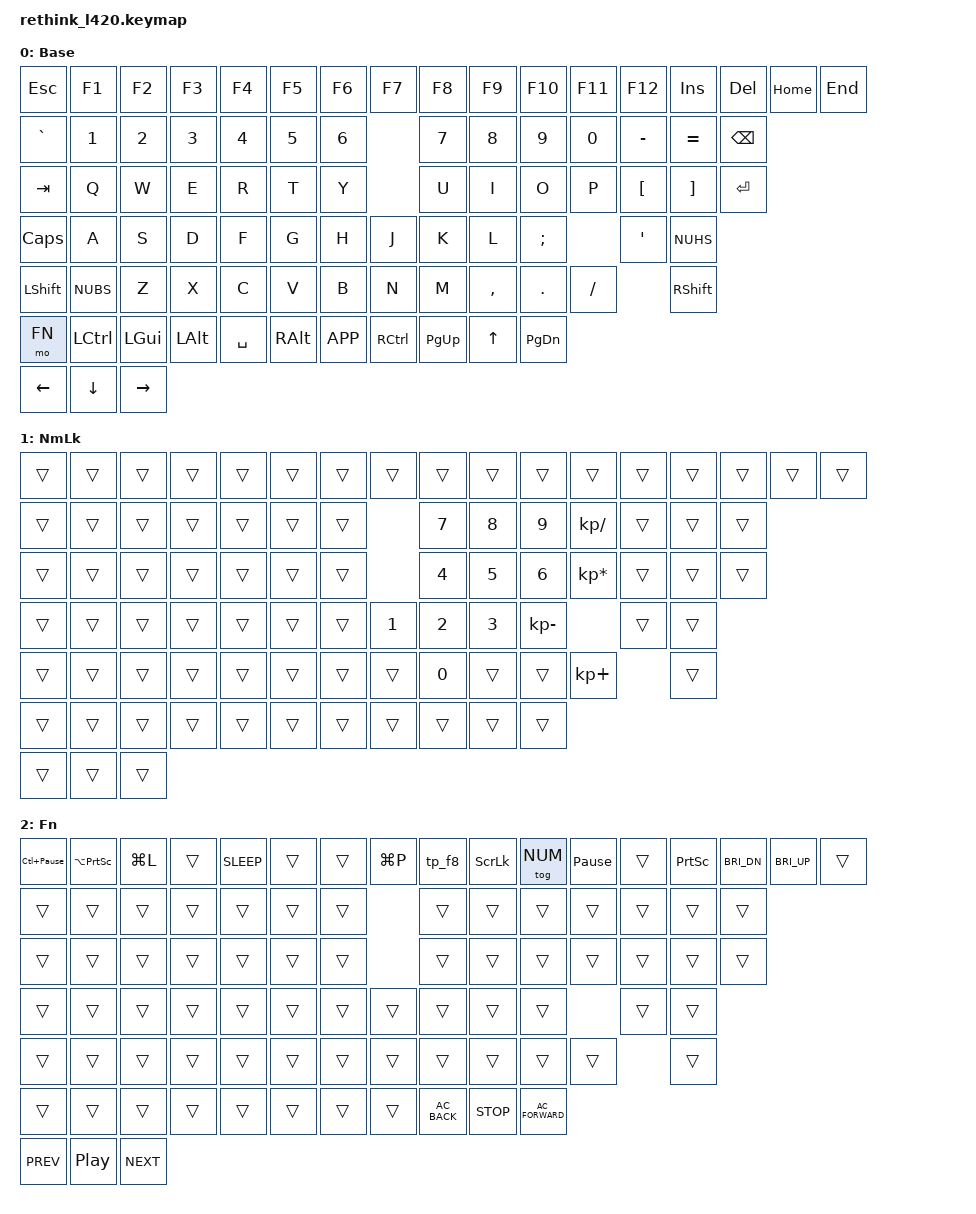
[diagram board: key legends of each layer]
/*
 * Copyright (c) 2026 Ziemniaczenka
 * SPDX-License-Identifier: MIT
 *
 * ThinkPad L420, ISO. Each key sends the standard key code of its position;
 * the host's layout (Norwegian, UK, ...) gives the legends. The comments name
 * the keys by their UK ISO legends: ` left of 1, # left of Enter (NUHS),
 * \ right of LShift (NUBS).
 * Fn is the bottom-left key, as on the ThinkPad, and does what the keycaps
 * show where a standard key code exists: Break, SysRq, lock (Win+L), sleep,
 * display (Win+P), Scroll Lock, Num Lock, Pause, PrtSc, brightness, browser
 * back/forward on PgUp/PgDn, media on the arrows. Battery, wireless,
 * camera, hibernate and zoom have none and are left out.
 *
 * Fn+F8 (pointing device) switches the TrackPoint on and off; Ctrl+Fn+F8
 * recalibrates it, with the hands off the stick; Alt+Fn+F8 switches
 * press-to-select (clicking by pressing the stick) on and off; Shift+Fn+F8
 * switches scrolling with the middle button held on and off (off: a plain
 * middle button, for programs that pan with it). Both are kept in flash.
 *
 * Fn+F10 (NmLk) toggles the embedded keypad: the digits on 7-9, U-O, J-L
 * and M, / * - + on 0, P, ; and /. It sends digits and keypad operators,
 * which don't depend on the host's Num Lock.
 */

#include <behaviors.dtsi>
#include <dt-bindings/zmk/keys.h>
#include <dt-bindings/rethink/trackpoint.h>

#define NUM 1
#define FN 2

/ {
    behaviors {
        // Fn+F8: TrackPoint on/off; with Ctrl: recalibrate; with Alt:
        // press-to-select on/off; with Shift: middle-button scrolling on/off
        tp_f8: tp_f8 {
            compatible = "zmk,behavior-mod-morph";
            #binding-cells = <0>;
            bindings = <&tp_f8_alt>, <&tp TP_SCROLL_TOG>;
            mods = <(MOD_LSFT|MOD_RSFT)>;
        };
        tp_f8_alt: tp_f8_alt {
            compatible = "zmk,behavior-mod-morph";
            #binding-cells = <0>;
            bindings = <&tp_f8_ctrl>, <&tp TP_PTS_TOG>;
            mods = <(MOD_LALT|MOD_RALT)>;
        };
        tp_f8_ctrl: tp_f8_ctrl {
            compatible = "zmk,behavior-mod-morph";
            #binding-cells = <0>;
            bindings = <&tp TP_TOG>, <&tp TP_RECAL>;
            mods = <(MOD_LCTL|MOD_RCTL)>;
        };
        // Report rate keys exist but aren't bound: &tp TP_RATE_UP and
        // &tp TP_RATE_DN step the rate (kept in flash); "tp set rate" in the
        // shell sets it
    };

    keymap {
        compatible = "zmk,keymap";

        base_layer {
            display-name = "Base";
            bindings = <
                // Esc      F1      F2      F3      F4      F5      F6      F7      F8      F9      F10      F11      F12      Insert   Delete   Home      End
                   &kp ESC  &kp F1  &kp F2  &kp F3  &kp F4  &kp F5  &kp F6  &kp F7  &kp F8  &kp F9  &kp F10  &kp F11  &kp F12  &kp INS  &kp DEL  &kp HOME  &kp END
                // `          1       2       3       4       5       6       7       8       9       0       -          =          Bksp
                   &kp GRAVE  &kp N1  &kp N2  &kp N3  &kp N4  &kp N5  &kp N6  &kp N7  &kp N8  &kp N9  &kp N0  &kp MINUS  &kp EQUAL  &kp BSPC
                // Tab      Q      W      E      R      T      Y      U      I      O      P      [         ]         Enter
                   &kp TAB  &kp Q  &kp W  &kp E  &kp R  &kp T  &kp Y  &kp U  &kp I  &kp O  &kp P  &kp LBKT  &kp RBKT  &kp RET
                // Caps      A      S      D      F      G      H      J      K      L      ;         '        #
                   &kp CAPS  &kp A  &kp S  &kp D  &kp F  &kp G  &kp H  &kp J  &kp K  &kp L  &kp SEMI  &kp SQT  &kp NUHS
                // LShift     \         Z      X      C      V      B      N      M      ,          .        /         RShift
                   &kp LSHFT  &kp NUBS  &kp Z  &kp X  &kp C  &kp V  &kp B  &kp N  &kp M  &kp COMMA  &kp DOT  &kp FSLH  &kp RSHFT
                // Fn      LCtrl      Win       LAlt      Space      AltGr     Menu       RCtrl      PgUp       Up      PgDn
                   &mo FN  &kp LCTRL  &kp LGUI  &kp LALT  &kp SPACE  &kp RALT  &kp K_APP  &kp RCTRL  &kp PG_UP  &kp UP  &kp PG_DN
                // Left      Down      Right
                   &kp LEFT  &kp DOWN  &kp RIGHT
            >;
        };

        num_layer {
            display-name = "NmLk";
            bindings = <
                // Esc     F1      F2      F3      F4      F5      F6      F7      F8      F9      F10     F11     F12     Insert  Delete  Home    End
                   &trans  &trans  &trans  &trans  &trans  &trans  &trans  &trans  &trans  &trans  &trans  &trans  &trans  &trans  &trans  &trans  &trans
                // `       1       2       3       4       5       6       7       8       9       0              -       =       Bksp
                   &trans  &trans  &trans  &trans  &trans  &trans  &trans  &kp N7  &kp N8  &kp N9  &kp KP_DIVIDE  &trans  &trans  &trans
                // Tab     Q       W       E       R       T       Y       U       I       O       P                [       ]       Enter
                   &trans  &trans  &trans  &trans  &trans  &trans  &trans  &kp N4  &kp N5  &kp N6  &kp KP_MULTIPLY  &trans  &trans  &trans
                // Caps    A       S       D       F       G       H       J       K       L       ;             '       #
                   &trans  &trans  &trans  &trans  &trans  &trans  &trans  &kp N1  &kp N2  &kp N3  &kp KP_MINUS  &trans  &trans
                // LShift  \       Z       X       C       V       B       N       M       ,       .       /            RShift
                   &trans  &trans  &trans  &trans  &trans  &trans  &trans  &trans  &kp N0  &trans  &trans  &kp KP_PLUS  &trans
                // Fn      LCtrl   Win     LAlt    Space   AltGr   Menu    RCtrl   PgUp    Up      PgDn
                   &trans  &trans  &trans  &trans  &trans  &trans  &trans  &trans  &trans  &trans  &trans
                // Left    Down    Right
                   &trans  &trans  &trans
            >;
        };

        fn_layer {
            display-name = "Fn";
            bindings = <
                // Esc                  F1             F2         F3      F4           F5      F6      F7         F8      F9        F10       F11              F12     Insert     Delete        Home          End
                   &kp LC(PAUSE_BREAK)  &kp LA(PSCRN)  &kp LG(L)  &trans  &kp C_SLEEP  &trans  &trans  &kp LG(P)  &tp_f8  &kp SLCK  &tog NUM  &kp PAUSE_BREAK  &trans  &kp PSCRN  &kp C_BRI_DN  &kp C_BRI_UP  &trans
                // `       1       2       3       4       5       6       7       8       9       0       -       =       Bksp
                   &trans  &trans  &trans  &trans  &trans  &trans  &trans  &trans  &trans  &trans  &trans  &trans  &trans  &trans
                // Tab     Q       W       E       R       T       Y       U       I       O       P       [       ]       Enter
                   &trans  &trans  &trans  &trans  &trans  &trans  &trans  &trans  &trans  &trans  &trans  &trans  &trans  &trans
                // Caps    A       S       D       F       G       H       J       K       L       ;       '       #
                   &trans  &trans  &trans  &trans  &trans  &trans  &trans  &trans  &trans  &trans  &trans  &trans  &trans
                // LShift  \       Z       X       C       V       B       N       M       ,       .       /       RShift
                   &trans  &trans  &trans  &trans  &trans  &trans  &trans  &trans  &trans  &trans  &trans  &trans  &trans
                // Fn      LCtrl   Win     LAlt    Space   AltGr   Menu    RCtrl   PgUp           Up          PgDn
                   &trans  &trans  &trans  &trans  &trans  &trans  &trans  &trans  &kp C_AC_BACK  &kp C_STOP  &kp C_AC_FORWARD
                // Left        Down      Right
                   &kp C_PREV  &kp C_PP  &kp C_NEXT
            >;
        };
    };
};
